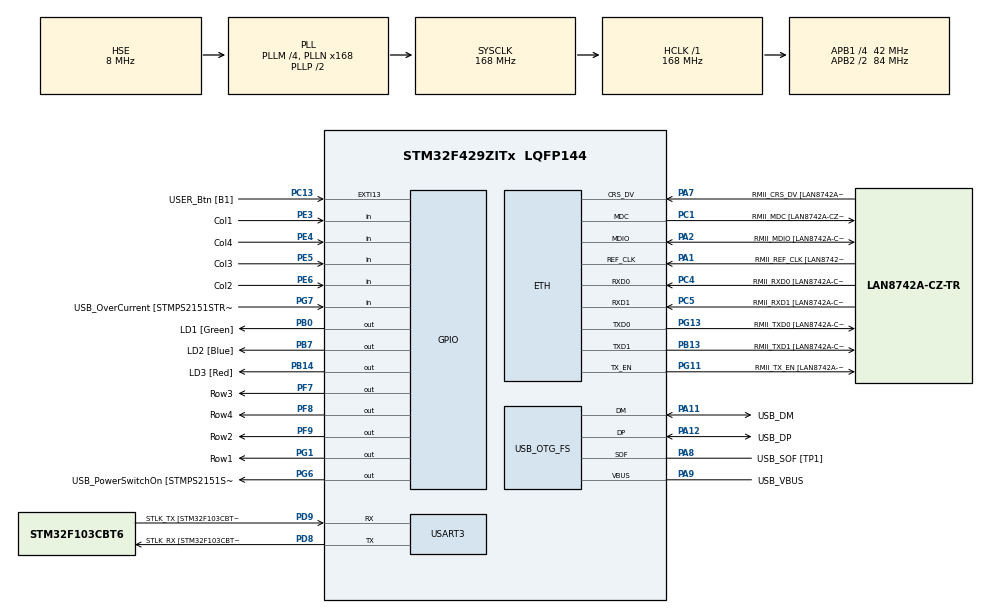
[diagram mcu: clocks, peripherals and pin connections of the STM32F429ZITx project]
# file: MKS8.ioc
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ETH.MediaInterface=HAL_ETH_RMII_MODE
ETH.PHY_Name=LAN8742A_PHY_ADDRESS
ETH.PHY_Value=0
ETH.PhyAddress=0
Mcu.Family=STM32F4
Mcu.Name=STM32F429ZITx
Mcu.Package=LQFP144
NVIC.PriorityGroup=NVIC_PRIORITYGROUP_4
NVIC.TIM3_IRQn=true\:0\:0\:false\:false\:true\:true\:true\:true
PA1.GPIO_Label=RMII_REF_CLK [LAN8742A-CZ-TR_REFCLK0]
PA1.Mode=RMII
PA1.Signal=ETH_REF_CLK
PA10.GPIO_Label=USB_ID
PA10.Signal=USB_OTG_FS_ID
PA11.GPIO_Label=USB_DM
PA11.Mode=Device_Only
PA11.Signal=USB_OTG_FS_DM
PA12.GPIO_Label=USB_DP
PA12.Mode=Device_Only
PA12.Signal=USB_OTG_FS_DP
PA13.GPIO_Label=TMS
PA13.Mode=Serial_Wire
PA13.Signal=SYS_JTMS-SWDIO
PA14.GPIO_Label=TCK
PA14.Mode=Serial_Wire
PA14.Signal=SYS_JTCK-SWCLK
PA2.GPIO_Label=RMII_MDIO [LAN8742A-CZ-TR_MDIO]
PA2.Mode=RMII
PA2.Signal=ETH_MDIO
PA7.GPIO_Label=RMII_CRS_DV [LAN8742A-CZ-TR_CRS_DV]
PA7.Mode=RMII
PA7.Signal=ETH_CRS_DV
PA8.GPIO_Label=USB_SOF [TP1]
PA8.Mode=Activate_SOF_FS
PA8.Signal=USB_OTG_FS_SOF
PA9.GPIO_Label=USB_VBUS
PA9.Mode=Activate_VBUS
PA9.Signal=USB_OTG_FS_VBUS
PB0.GPIO_Label=LD1 [Green]
PB0.Signal=GPIO_Output
PB13.GPIO_Label=RMII_TXD1 [LAN8742A-CZ-TR_TXD1]
PB13.Mode=RMII
PB13.Signal=ETH_TXD1
PB14.GPIO_Label=LD3 [Red]
PB14.Signal=GPIO_Output
PB7.GPIO_Label=LD2 [Blue]
PB7.Signal=GPIO_Output
PC1.GPIO_Label=RMII_MDC [LAN8742A-CZ-TR_MDC]
PC1.Mode=RMII
PC1.Signal=ETH_MDC
PC13.GPIO_Label=USER_Btn [B1]
PC13.Signal=GPXTI13
PC14/OSC32_IN.Mode=LSE-External-Oscillator
PC14/OSC32_IN.Signal=RCC_OSC32_IN
PC15/OSC32_OUT.Mode=LSE-External-Oscillator
PC15/OSC32_OUT.Signal=RCC_OSC32_OUT
PC4.GPIO_Label=RMII_RXD0 [LAN8742A-CZ-TR_RXD0]
PC4.Mode=RMII
PC4.Signal=ETH_RXD0
PC5.GPIO_Label=RMII_RXD1 [LAN8742A-CZ-TR_RXD1]
PC5.Mode=RMII
PC5.Signal=ETH_RXD1
PD8.GPIO_Label=STLK_RX [STM32F103CBT6_PA3]
PD8.Mode=Asynchronous
PD8.Signal=USART3_TX
PD9.GPIO_Label=STLK_TX [STM32F103CBT6_PA2]
PD9.Mode=Asynchronous
PD9.Signal=USART3_RX
PE3.GPIO_Label=Col1
PE3.GPIO_PuPd=GPIO_PULLUP
PE3.Signal=GPIO_Input
PE4.GPIO_Label=Col4
PE4.GPIO_PuPd=GPIO_PULLUP
PE4.Signal=GPIO_Input
PE5.GPIO_Label=Col3
PE5.GPIO_PuPd=GPIO_PULLUP
PE5.Signal=GPIO_Input
PE6.GPIO_Label=Col2
PE6.GPIO_PuPd=GPIO_PULLUP
PE6.Signal=GPIO_Input
PF7.GPIO_Label=Row3
PF7.GPIO_ModeDefaultOutputPP=GPIO_MODE_OUTPUT_OD
PF7.GPIO_PuPd=GPIO_NOPULL
PF7.Signal=GPIO_Output
PF8.GPIO_Label=Row4
PF8.GPIO_ModeDefaultOutputPP=GPIO_MODE_OUTPUT_OD
PF8.GPIO_PuPd=GPIO_NOPULL
PF8.Signal=GPIO_Output
PF9.GPIO_Label=Row2
PF9.GPIO_ModeDefaultOutputPP=GPIO_MODE_OUTPUT_OD
PF9.GPIO_PuPd=GPIO_NOPULL
PF9.Signal=GPIO_Output
PG1.GPIO_Label=Row1
PG1.GPIO_ModeDefaultOutputPP=GPIO_MODE_OUTPUT_OD
PG1.GPIO_PuPd=GPIO_NOPULL
PG1.Signal=GPIO_Output
PG11.GPIO_Label=RMII_TX_EN [LAN8742A-CZ-TR_TXEN]
PG11.Mode=RMII
PG11.Signal=ETH_TX_EN
PG13.GPIO_Label=RMII_TXD0 [LAN8742A-CZ-TR_TXD0]
PG13.Mode=RMII
PG13.Signal=ETH_TXD0
PG6.GPIO_Label=USB_PowerSwitchOn [STMPS2151STR_EN]
PG6.Signal=GPIO_Output
PG7.GPIO_Label=USB_OverCurrent [STMPS2151STR_FAULT]
PG7.Signal=GPIO_Input
PH0/OSC_IN.GPIO_Label=MCO [STM32F103CBT6_PA8]
PH0/OSC_IN.Mode=HSE-External-Clock-Source
PH0/OSC_IN.Signal=RCC_OSC_IN
PH1/OSC_OUT.Mode=HSE-External-Clock-Source
PH1/OSC_OUT.Signal=RCC_OSC_OUT
ProjectManager.HeapSize=0x200
ProjectManager.StackSize=0x400
ProjectManager.TargetToolchain=STM32CubeIDE
RCC.48MHZClocksFreq_Value=48000000
RCC.AHBFreq_Value=168000000
RCC.APB1CLKDivider=RCC_HCLK_DIV4
RCC.APB1Freq_Value=42000000
RCC.APB1TimFreq_Value=84000000
RCC.APB2CLKDivider=RCC_HCLK_DIV2
RCC.APB2Freq_Value=84000000
RCC.APB2TimCLKDivider=2
RCC.APB2TimFreq_Value=168000000
RCC.CortexFreq_Value=168000000
RCC.HCLKFreq_Value=168000000
RCC.HSE_VALUE=8000000
RCC.HSI_VALUE=16000000
RCC.PLLM=4
RCC.PLLMUL=RCC_PLL_MUL9
RCC.PLLN=168
RCC.PLLQ=7
RCC.PRESCALERUSB=RCC_USBCLKSOURCE_PLL_DIV1_5
RCC.SYSCLKFreq_VALUE=168000000
RCC.SYSCLKSource=RCC_SYSCLKSOURCE_PLLCLK
RCC.SYSCLKSourceVirtual=RCC_SYSCLKSOURCE_PLLCLK
RCC.USBFreq_Value=48000000
RCC.VCOOutputFreq_Value=336000000
TIM3.AutoReloadPreload=TIM_AUTORELOAD_PRELOAD_ENABLE
TIM3.Period=99
TIM3.Prescaler=8399
USART3.VirtualMode=VM_ASYNC
USB_OTG_FS.VirtualMode=Device_Only
VP_TIM3_VS_ClockSourceINT.Mode=Internal
board=NUCLEO-F429ZI

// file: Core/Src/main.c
/* USER CODE BEGIN Header */
/**
  ******************************************************************************
  * @file           : main.c
  * @brief          : Main program body
  ******************************************************************************
  * @attention
  *
  * Copyright (c) 2025 STMicroelectronics.
  * All rights reserved.
  *
  * This software is licensed under terms that can be found in the LICENSE file
  * in the root directory of this software component.
  * If no LICENSE file comes with this software, it is provided AS-IS.
  *
  ******************************************************************************
  */
/* USER CODE END Header */
#include "main.h"
#include "string.h"

/* USER CODE BEGIN Includes */
#include <stdio.h>
/* USER CODE END Includes */

/* USER CODE BEGIN PD */
#define CODE_LEN 5
/* USER CODE END PD */

ETH_TxPacketConfig TxConfig;
ETH_DMADescTypeDef  DMARxDscrTab[ETH_RX_DESC_CNT]; /* Ethernet Rx DMA Descriptors */
ETH_DMADescTypeDef  DMATxDscrTab[ETH_TX_DESC_CNT]; /* Ethernet Tx DMA Descriptors */

ETH_HandleTypeDef heth;

TIM_HandleTypeDef htim3;

UART_HandleTypeDef huart3;

PCD_HandleTypeDef hpcd_USB_OTG_FS;

/* USER CODE BEGIN PV */
static volatile char key;
static const char passkey[CODE_LEN] = { '7', '9', '3', '2', '#' };
/* USER CODE END PV */

void SystemClock_Config(void);
static void MX_GPIO_Init(void);
static void MX_ETH_Init(void);
static void MX_USART3_UART_Init(void);
static void MX_USB_OTG_FS_PCD_Init(void);
static void MX_TIM3_Init(void);

/* USER CODE BEGIN 0 */
int __io_putchar(int ch)
{
	ITM_SendChar(ch);
	return 0;
}

/* USER CODE END 0 */

int main(void)
{

  /* MCU Configuration--------------------------------------------------------*/

  /* Reset of all peripherals, Initializes the Flash interface and the Systick. */
  HAL_Init();

  /* Configure the system clock */
  SystemClock_Config();

  /* Initialize all configured peripherals */
  MX_GPIO_Init();
  MX_ETH_Init();
  MX_USART3_UART_Init();
  MX_USB_OTG_FS_PCD_Init();
  MX_TIM3_Init();
  /* USER CODE BEGIN 2 */
  HAL_TIM_Base_Start_IT(&htim3);

  uint8_t pos = 0;
  uint8_t eq = 0;
  /* USER CODE END 2 */

  /* Infinite loop */
  /* USER CODE BEGIN WHILE */
  while (1)
  {
	  if (key != 0)
	  {
		  printf("pressed '%c'\n", key);

		  if (key == passkey[pos])
		  {
			  eq = 1;
		  }
		  else
		  {
			  pos = 0;
			  eq = 0;
			  printf("Wrong key, reset\n");
			  HAL_Delay(300);
			  key = 0;
			  continue;
		  }

		  if ((pos == (CODE_LEN - 1)) && eq)
		  {
			  HAL_GPIO_WritePin(LD1_GPIO_Port, LD1_Pin, GPIO_PIN_SET);
			  printf("Unlocked!\n");

			  pos = 0;
			  eq = 0;

			  HAL_Delay(5000);
			  HAL_GPIO_WritePin(LD1_GPIO_Port, LD1_Pin, GPIO_PIN_RESET);
		  }
		  else
		  {
			  pos++;
		  }

		  HAL_Delay(300);
		  key = 0;
	  }
    /* USER CODE END WHILE */

  }
}

void SystemClock_Config(void)
{
  RCC_OscInitTypeDef RCC_OscInitStruct = {0};
  RCC_ClkInitTypeDef RCC_ClkInitStruct = {0};

  /** Configure the main internal regulator output voltage
  */
  __HAL_RCC_PWR_CLK_ENABLE();
  __HAL_PWR_VOLTAGESCALING_CONFIG(PWR_REGULATOR_VOLTAGE_SCALE1);

  /** Initializes the RCC Oscillators according to the specified parameters
  * in the RCC_OscInitTypeDef structure.
  */
  RCC_OscInitStruct.OscillatorType = RCC_OSCILLATORTYPE_HSE;
  RCC_OscInitStruct.HSEState = RCC_HSE_BYPASS;
  RCC_OscInitStruct.PLL.PLLState = RCC_PLL_ON;
  RCC_OscInitStruct.PLL.PLLSource = RCC_PLLSOURCE_HSE;
  RCC_OscInitStruct.PLL.PLLM = 4;
  RCC_OscInitStruct.PLL.PLLN = 168;
  RCC_OscInitStruct.PLL.PLLP = RCC_PLLP_DIV2;
  RCC_OscInitStruct.PLL.PLLQ = 7;
  if (HAL_RCC_OscConfig(&RCC_OscInitStruct) != HAL_OK)
  {
    Error_Handler();
  }

  /** Initializes the CPU, AHB and APB buses clocks
  */
  RCC_ClkInitStruct.ClockType = RCC_CLOCKTYPE_HCLK|RCC_CLOCKTYPE_SYSCLK
                              |RCC_CLOCKTYPE_PCLK1|RCC_CLOCKTYPE_PCLK2;
  RCC_ClkInitStruct.SYSCLKSource = RCC_SYSCLKSOURCE_PLLCLK;
  RCC_ClkInitStruct.AHBCLKDivider = RCC_SYSCLK_DIV1;
  RCC_ClkInitStruct.APB1CLKDivider = RCC_HCLK_DIV4;
  RCC_ClkInitStruct.APB2CLKDivider = RCC_HCLK_DIV2;

  if (HAL_RCC_ClockConfig(&RCC_ClkInitStruct, FLASH_LATENCY_5) != HAL_OK)
  {
    Error_Handler();
  }
}

static void MX_ETH_Init(void)
{

   static uint8_t MACAddr[6];

  heth.Instance = ETH;
  MACAddr[0] = 0x00;
  MACAddr[1] = 0x80;
  MACAddr[2] = 0xE1;
  MACAddr[3] = 0x00;
  MACAddr[4] = 0x00;
  MACAddr[5] = 0x00;
  heth.Init.MACAddr = &MACAddr[0];
  heth.Init.MediaInterface = HAL_ETH_RMII_MODE;
  heth.Init.TxDesc = DMATxDscrTab;
  heth.Init.RxDesc = DMARxDscrTab;
  heth.Init.RxBuffLen = 1524;

  if (HAL_ETH_Init(&heth) != HAL_OK)
  {
    Error_Handler();
  }

  memset(&TxConfig, 0 , sizeof(ETH_TxPacketConfig));
  TxConfig.Attributes = ETH_TX_PACKETS_FEATURES_CSUM | ETH_TX_PACKETS_FEATURES_CRCPAD;
  TxConfig.ChecksumCtrl = ETH_CHECKSUM_IPHDR_PAYLOAD_INSERT_PHDR_CALC;
  TxConfig.CRCPadCtrl = ETH_CRC_PAD_INSERT;

}

static void MX_TIM3_Init(void)
{

  TIM_ClockConfigTypeDef sClockSourceConfig = {0};
  TIM_MasterConfigTypeDef sMasterConfig = {0};

  htim3.Instance = TIM3;
  htim3.Init.Prescaler = 8399;
  htim3.Init.CounterMode = TIM_COUNTERMODE_UP;
  htim3.Init.Period = 99;
  htim3.Init.ClockDivision = TIM_CLOCKDIVISION_DIV1;
  htim3.Init.AutoReloadPreload = TIM_AUTORELOAD_PRELOAD_ENABLE;
  if (HAL_TIM_Base_Init(&htim3) != HAL_OK)
  {
    Error_Handler();
  }
  sClockSourceConfig.ClockSource = TIM_CLOCKSOURCE_INTERNAL;
  if (HAL_TIM_ConfigClockSource(&htim3, &sClockSourceConfig) != HAL_OK)
  {
    Error_Handler();
  }
  sMasterConfig.MasterOutputTrigger = TIM_TRGO_RESET;
  sMasterConfig.MasterSlaveMode = TIM_MASTERSLAVEMODE_DISABLE;
  if (HAL_TIMEx_MasterConfigSynchronization(&htim3, &sMasterConfig) != HAL_OK)
  {
    Error_Handler();
  }

}

static void MX_USART3_UART_Init(void)
{

  huart3.Instance = USART3;
  huart3.Init.BaudRate = 115200;
  huart3.Init.WordLength = UART_WORDLENGTH_8B;
  huart3.Init.StopBits = UART_STOPBITS_1;
  huart3.Init.Parity = UART_PARITY_NONE;
  huart3.Init.Mode = UART_MODE_TX_RX;
  huart3.Init.HwFlowCtl = UART_HWCONTROL_NONE;
  huart3.Init.OverSampling = UART_OVERSAMPLING_16;
  if (HAL_UART_Init(&huart3) != HAL_OK)
  {
    Error_Handler();
  }

}

static void MX_USB_OTG_FS_PCD_Init(void)
{

  hpcd_USB_OTG_FS.Instance = USB_OTG_FS;
  hpcd_USB_OTG_FS.Init.dev_endpoints = 4;
  hpcd_USB_OTG_FS.Init.speed = PCD_SPEED_FULL;
  hpcd_USB_OTG_FS.Init.dma_enable = DISABLE;
  hpcd_USB_OTG_FS.Init.phy_itface = PCD_PHY_EMBEDDED;
  hpcd_USB_OTG_FS.Init.Sof_enable = ENABLE;
  hpcd_USB_OTG_FS.Init.low_power_enable = DISABLE;
  hpcd_USB_OTG_FS.Init.lpm_enable = DISABLE;
  hpcd_USB_OTG_FS.Init.vbus_sensing_enable = ENABLE;
  hpcd_USB_OTG_FS.Init.use_dedicated_ep1 = DISABLE;
  if (HAL_PCD_Init(&hpcd_USB_OTG_FS) != HAL_OK)
  {
    Error_Handler();
  }

}

static void MX_GPIO_Init(void)
{
  GPIO_InitTypeDef GPIO_InitStruct = {0};

  /* GPIO Ports Clock Enable */
  __HAL_RCC_GPIOE_CLK_ENABLE();
  __HAL_RCC_GPIOC_CLK_ENABLE();
  __HAL_RCC_GPIOF_CLK_ENABLE();
  __HAL_RCC_GPIOH_CLK_ENABLE();
  __HAL_RCC_GPIOA_CLK_ENABLE();
  __HAL_RCC_GPIOB_CLK_ENABLE();
  __HAL_RCC_GPIOG_CLK_ENABLE();
  __HAL_RCC_GPIOD_CLK_ENABLE();

  /*Configure GPIO pin Output Level */
  HAL_GPIO_WritePin(GPIOF, Row3_Pin|Row4_Pin|Row2_Pin, GPIO_PIN_RESET);

  /*Configure GPIO pin Output Level */
  HAL_GPIO_WritePin(GPIOB, LD1_Pin|LD3_Pin|LD2_Pin, GPIO_PIN_RESET);

  /*Configure GPIO pin Output Level */
  HAL_GPIO_WritePin(GPIOG, Row1_Pin|USB_PowerSwitchOn_Pin, GPIO_PIN_RESET);

  /*Configure GPIO pins : Col1_Pin Col4_Pin Col3_Pin Col2_Pin */
  GPIO_InitStruct.Pin = Col1_Pin|Col4_Pin|Col3_Pin|Col2_Pin;
  GPIO_InitStruct.Mode = GPIO_MODE_INPUT;
  GPIO_InitStruct.Pull = GPIO_PULLUP;
  HAL_GPIO_Init(GPIOE, &GPIO_InitStruct);

  /*Configure GPIO pin : USER_Btn_Pin */
  GPIO_InitStruct.Pin = USER_Btn_Pin;
  GPIO_InitStruct.Mode = GPIO_MODE_IT_RISING;
  GPIO_InitStruct.Pull = GPIO_NOPULL;
  HAL_GPIO_Init(USER_Btn_GPIO_Port, &GPIO_InitStruct);

  /*Configure GPIO pins : Row3_Pin Row4_Pin Row2_Pin */
  GPIO_InitStruct.Pin = Row3_Pin|Row4_Pin|Row2_Pin;
  GPIO_InitStruct.Mode = GPIO_MODE_OUTPUT_OD;
  GPIO_InitStruct.Pull = GPIO_NOPULL;
  GPIO_InitStruct.Speed = GPIO_SPEED_FREQ_LOW;
  HAL_GPIO_Init(GPIOF, &GPIO_InitStruct);

  /*Configure GPIO pins : LD1_Pin LD3_Pin LD2_Pin */
  GPIO_InitStruct.Pin = LD1_Pin|LD3_Pin|LD2_Pin;
  GPIO_InitStruct.Mode = GPIO_MODE_OUTPUT_PP;
  GPIO_InitStruct.Pull = GPIO_NOPULL;
  GPIO_InitStruct.Speed = GPIO_SPEED_FREQ_LOW;
  HAL_GPIO_Init(GPIOB, &GPIO_InitStruct);

  /*Configure GPIO pin : Row1_Pin */
  GPIO_InitStruct.Pin = Row1_Pin;
  GPIO_InitStruct.Mode = GPIO_MODE_OUTPUT_OD;
  GPIO_InitStruct.Pull = GPIO_NOPULL;
  GPIO_InitStruct.Speed = GPIO_SPEED_FREQ_LOW;
  HAL_GPIO_Init(Row1_GPIO_Port, &GPIO_InitStruct);

  /*Configure GPIO pin : USB_PowerSwitchOn_Pin */
  GPIO_InitStruct.Pin = USB_PowerSwitchOn_Pin;
  GPIO_InitStruct.Mode = GPIO_MODE_OUTPUT_PP;
  GPIO_InitStruct.Pull = GPIO_NOPULL;
  GPIO_InitStruct.Speed = GPIO_SPEED_FREQ_LOW;
  HAL_GPIO_Init(USB_PowerSwitchOn_GPIO_Port, &GPIO_InitStruct);

  /*Configure GPIO pin : USB_OverCurrent_Pin */
  GPIO_InitStruct.Pin = USB_OverCurrent_Pin;
  GPIO_InitStruct.Mode = GPIO_MODE_INPUT;
  GPIO_InitStruct.Pull = GPIO_NOPULL;
  HAL_GPIO_Init(USB_OverCurrent_GPIO_Port, &GPIO_InitStruct);

}

/* USER CODE BEGIN 4 */
void HAL_TIM_PeriodElapsedCallback(TIM_HandleTypeDef *htim)
{
	static uint8_t row = 0;
	static const char keyboard[4][4] = {
			{ '1', '2', '3', 'A' },
			{ '4', '5', '6', 'B' },
			{ '7', '8', '9', 'C' },
			{ '*', '0', '#', 'D' },
	};
	if (key == 0) {
		if (HAL_GPIO_ReadPin(Col1_GPIO_Port, Col1_Pin) == GPIO_PIN_RESET) {
			key = keyboard[row][0];
		}
		if (HAL_GPIO_ReadPin(Col2_GPIO_Port, Col2_Pin) == GPIO_PIN_RESET) {
			key = keyboard[row][1];
		}
		if (HAL_GPIO_ReadPin(Col3_GPIO_Port, Col3_Pin) == GPIO_PIN_RESET) {
			key = keyboard[row][2];
		}
		if (HAL_GPIO_ReadPin(Col4_GPIO_Port, Col4_Pin) == GPIO_PIN_RESET) {
			key = keyboard[row][3];
		}
	}
	HAL_GPIO_WritePin(Row1_GPIO_Port, Row1_Pin, GPIO_PIN_SET);
	HAL_GPIO_WritePin(Row2_GPIO_Port, Row2_Pin, GPIO_PIN_SET);
	HAL_GPIO_WritePin(Row3_GPIO_Port, Row3_Pin, GPIO_PIN_SET);
	HAL_GPIO_WritePin(Row4_GPIO_Port, Row4_Pin, GPIO_PIN_SET);
	switch (row) {
		case 0:
			row = 1;
			HAL_GPIO_WritePin(Row2_GPIO_Port, Row2_Pin, GPIO_PIN_RESET);
			break;
		case 1:
			row = 2;
			HAL_GPIO_WritePin(Row3_GPIO_Port, Row3_Pin, GPIO_PIN_RESET);
			break;
		case 2:
			row = 3;
			HAL_GPIO_WritePin(Row4_GPIO_Port, Row4_Pin, GPIO_PIN_RESET);
			break;
		case 3:
			row = 0;
			HAL_GPIO_WritePin(Row1_GPIO_Port, Row1_Pin, GPIO_PIN_RESET);
			break;
	}
}
/* USER CODE END 4 */

void Error_Handler(void)
{
  __disable_irq();
  while (1)
  {
  }
}
